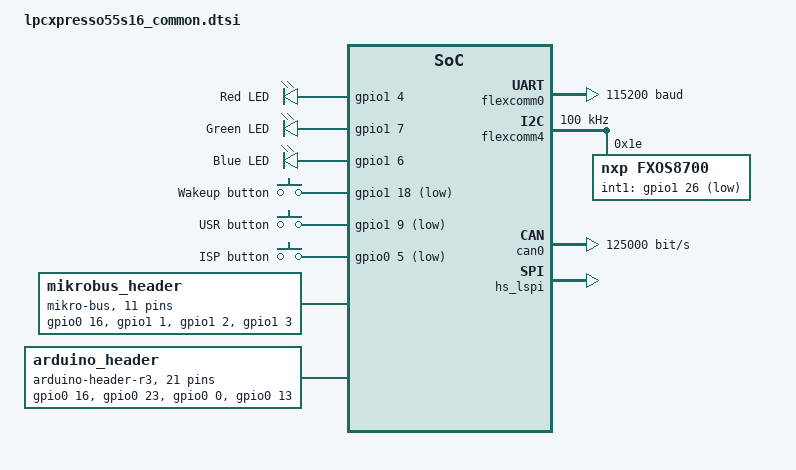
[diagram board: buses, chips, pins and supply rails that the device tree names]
/*
 * Copyright (c) 2020 Henrik Brix Andersen <henrik@brixandersen.dk>
 *
 * SPDX-License-Identifier: Apache-2.0
 */

#include "lpcxpresso55s16-pinctrl.dtsi"
#include <zephyr/dt-bindings/input/input-event-codes.h>

/ {
	chosen {
		zephyr,sram = &sram0;
		zephyr,flash = &flash0;
		zephyr,code-partition = &sramx;
		zephyr,console = &flexcomm0;
		zephyr,shell-uart = &flexcomm0;
		zephyr,entropy = &rng;
		zephyr,canbus = &can0;
	};

	aliases{
		led0 = &red_led;
		led1 = &green_led;
		led2 = &blue_led;
		sw0 = &btn_wk;
		sw1 = &btn_usr;
		sw2 = &btn_isp;
		usart-0 = &flexcomm0;
		magn0 = &fxos8700;
		accel0 = &fxos8700;
	};

	leds {
		compatible = "gpio-leds";
		red_led: led_0 {
			gpios = <&gpio1 4 0>;
			label = "Red LED";
		};
		green_led: led_1 {
			gpios = <&gpio1 7 0>;
			label = "Green LED";
		};
		blue_led: led_2 {
			gpios = <&gpio1 6 0>;
			label = "Blue LED";
		};
	};

	gpio_keys {
		compatible = "gpio-keys";
		btn_wk: button_0 {
			label = "Wakeup button";
			gpios = <&gpio1 18 GPIO_ACTIVE_LOW>;
			zephyr,code = <INPUT_KEY_WAKEUP>;
		};
		btn_usr: button_1 {
			label = "USR button";
			gpios = <&gpio1 9 GPIO_ACTIVE_LOW>;
			zephyr,code = <INPUT_KEY_0>;
		};
		btn_isp: button_2 {
			label = "ISP button";
			gpios = <&gpio0 5 GPIO_ACTIVE_LOW>;
			zephyr,code = <INPUT_KEY_1>;
		};
	};

	mikrobus_header: mikrobus-connector {
		compatible = "mikro-bus";
		#gpio-cells = <2>;
		gpio-map-mask = <0xffffffff 0xffffffc0>;
		gpio-map-pass-thru = <0 0x3f>;
		gpio-map =	<0 0 &gpio0 16 0>,	/* AN  */
				/* Not a GPIO*/		/* RST */
				<2 0 &gpio1 1 0>,	/* CS   */
				<3 0 &gpio1 2 0>,	/* SCK  */
				<4 0 &gpio1 3 0>,	/* MISO */
				<5 0 &gpio0 26 0>,	/* MOSI */
							/* +3.3V */
							/* GND */
				<6 0 &gpio1 5 0>,	/* PWM  */
				<7 0 &gpio1 18 0>,	/* INT  */
				<8 0 &gpio1 24 0>,	/* RX   */
				<9 0 &gpio0 27 0>,	/* TX   */
				<10 0 &gpio1 20 0>,	/* SCL  */
				<11 0 &gpio1 21 0>;	/* SDA  */
							/* +5V */
							/* GND */
	};

	arduino_header: arduino-connector {
		compatible = "arduino-header-r3";
		#gpio-cells = <2>;
		gpio-map-mask = <0xffffffff 0xffffffc0>;
		gpio-map-pass-thru = <0 0x3f>;
		gpio-map =	<0 0 &gpio0 16 0>,	/* A0 */
				<1 0 &gpio0 23 0>,	/* A1 */
				<2 0 &gpio0 0 0>,	/* A2 */
				/* R63 DNP, A3 not connected  */
				/* <3 0 &gpio1 31 0>,*/	/* A3 */
				<4 0 &gpio0 13 0>,	/* A4 */
				<5 0 &gpio0 14 0>,	/* A5 */
				<6 0 &gpio1 24 0>,	/* D0 */
				<7 0 &gpio0 27 0>,	/* D1 */
				<8 0 &gpio0 15 0>,	/* D2 */
				<9 0 &gpio1 6 0>,	/* D3 */
				<10 0 &gpio1 7 0>,	/* D4 */
				<11 0 &gpio1 4 0>,	/* D5 */
				<12 0 &gpio1 10 0>,	/* D6 */
				<13 0 &gpio1 9 0>,	/* D7 */
				<14 0 &gpio1 8 0>,	/* D8 */
				<15 0 &gpio1 5 0>,	/* D9 */
				<16 0 &gpio1 1 0>,	/* D10 */
				<17 0 &gpio0 26 0>,	/* D11 */
				<18 0 &gpio1 3 0>,	/* D12 */
				<19 0 &gpio1 2 0>,	/* D13 */
				<20 0 &gpio1 21 0>,	/* D14 */
				<21 0 &gpio1 20 0>;	/* D15 */
	};
};

&flexcomm0 {
	status = "okay";
	compatible = "nxp,lpc-usart";
	current-speed = <115200>;
	pinctrl-0 = <&pinmux_flexcomm0_usart>;
	pinctrl-names = "default";
};

&flexcomm4 {
	status = "okay";
	compatible = "nxp,lpc-i2c";
	clock-frequency = <I2C_BITRATE_STANDARD>;
	#address-cells = <1>;
	#size-cells = <0>;
	pinctrl-0 = <&pinmux_flexcomm4_i2c>;
	pinctrl-names = "default";

	fxos8700: fxos8700@1e {
		compatible = "nxp,fxos8700";
		reg = <0x1e>;
		int1-gpios = <&gpio1 26 (GPIO_ACTIVE_LOW | GPIO_PULL_UP)>;
	};
};

&can0 {
	status = "okay";
	bus-speed = <125000>;
	bus-speed-data = <1000000>;
	pinctrl-0 = <&pinmux_can0>;
	pinctrl-names = "default";

	can-transceiver {
		max-bitrate = <5000000>;
	};
};

&hs_lspi {
	status = "okay";
	pinctrl-0 = <&pinmux_hs_lspi>;
	pinctrl-names = "default";
};

&flash0 {
	/*
	 * LPC flash controller requires minimum 512 byte
	 * write to flash, so MCUBoot is not supported. Just
	 * provide storage and code partition.
	 */
	partitions {
		compatible = "fixed-partitions";
		#address-cells = <1>;
		#size-cells = <1>;
		slot0_partition: partition@0 {
			label = "image-0";
			reg = <0x00000000 DT_SIZE_K(196)>;
		};
		storage_partition: partition@30000 {
			label = "storage";
			reg = <0x00030000 DT_SIZE_K(64)>;
		};
	};
};

arduino_i2c: &flexcomm4 {};

arduino_spi: &hs_lspi {};

mikrobus_i2c: &flexcomm4 {};

mikrobus_spi: &hs_lspi {};
